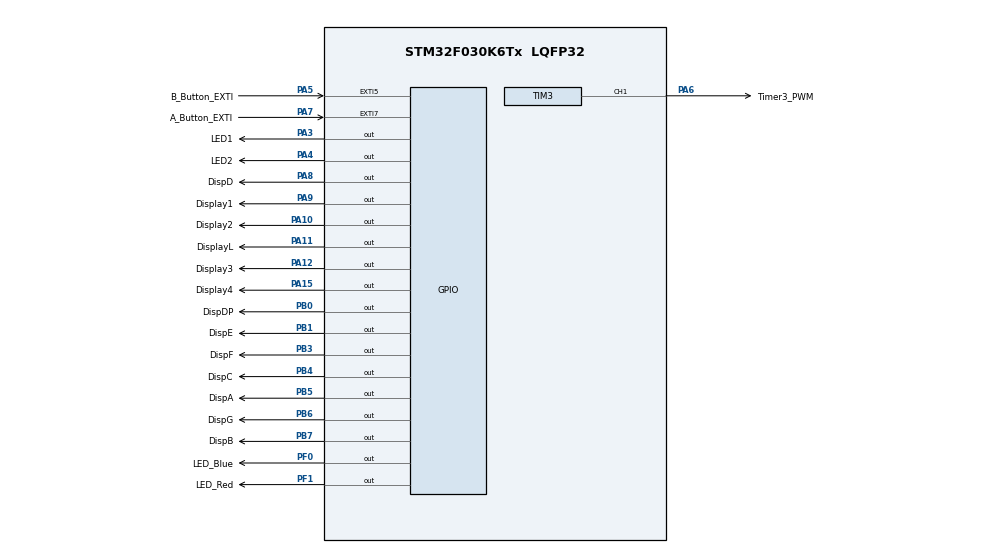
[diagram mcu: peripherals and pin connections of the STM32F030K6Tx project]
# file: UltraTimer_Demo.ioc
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Mcu.Family=STM32F0
Mcu.Name=STM32F030K6Tx
Mcu.Package=LQFP32
NVIC.EXTI4_15_IRQn=true\:0\:0\:false\:false\:true\:true\:true\:true
NVIC.TIM1_BRK_UP_TRG_COM_IRQn=true\:0\:0\:false\:false\:true\:true\:true\:true
NVIC.TIM1_CC_IRQn=true\:0\:0\:false\:false\:true\:true\:true\:true
PA10.GPIO_Label=Display2
PA10.GPIO_PuPd=GPIO_NOPULL
PA10.PinState=GPIO_PIN_RESET
PA10.Signal=GPIO_Output
PA11.GPIO_Label=DisplayL
PA11.GPIO_PuPd=GPIO_NOPULL
PA11.PinState=GPIO_PIN_RESET
PA11.Signal=GPIO_Output
PA12.GPIO_Label=Display3
PA12.GPIO_PuPd=GPIO_NOPULL
PA12.PinState=GPIO_PIN_RESET
PA12.Signal=GPIO_Output
PA13.Mode=Serial_Wire
PA13.Signal=SYS_SWDIO
PA14.Mode=Serial_Wire
PA14.Signal=SYS_SWCLK
PA15.GPIO_Label=Display4
PA15.GPIO_ModeDefaultOutputPP=GPIO_MODE_OUTPUT_PP
PA15.GPIO_PuPd=GPIO_NOPULL
PA15.PinState=GPIO_PIN_RESET
PA15.Signal=GPIO_Output
PA3.GPIO_Label=LED1
PA3.Signal=GPIO_Output
PA4.GPIO_Label=LED2
PA4.Signal=GPIO_Output
PA5.GPIO_Label=B_Button_EXTI
PA5.GPIO_ModeDefaultEXTI=GPIO_MODE_IT_FALLING
PA5.GPIO_PuPd=GPIO_PULLDOWN
PA5.Signal=GPXTI5
PA6.GPIO_Label=Timer3_PWM
PA6.Signal=S_TIM3_CH1
PA7.GPIO_Label=A_Button_EXTI
PA7.GPIO_ModeDefaultEXTI=GPIO_MODE_IT_FALLING
PA7.GPIO_PuPd=GPIO_PULLDOWN
PA7.Signal=GPXTI7
PA8.GPIO_Label=DispD
PA8.GPIO_PuPd=GPIO_NOPULL
PA8.PinState=GPIO_PIN_RESET
PA8.Signal=GPIO_Output
PA9.GPIO_Label=Display1
PA9.GPIO_ModeDefaultOutputPP=GPIO_MODE_OUTPUT_PP
PA9.GPIO_PuPd=GPIO_NOPULL
PA9.PinState=GPIO_PIN_RESET
PA9.Signal=GPIO_Output
PB0.GPIO_Label=DispDP
PB0.Signal=GPIO_Output
PB1.GPIO_Label=DispE
PB1.Signal=GPIO_Output
PB3.GPIO_Label=DispF
PB3.Signal=GPIO_Output
PB4.GPIO_Label=DispC
PB4.Signal=GPIO_Output
PB5.GPIO_Label=DispA
PB5.Signal=GPIO_Output
PB6.GPIO_Label=DispG
PB6.Signal=GPIO_Output
PB7.GPIO_Label=DispB
PB7.Signal=GPIO_Output
PF0-OSC_IN.GPIO_Label=LED_Blue
PF0-OSC_IN.Signal=GPIO_Output
PF1-OSC_OUT.GPIO_Label=LED_Red
PF1-OSC_OUT.Signal=GPIO_Output
ProjectManager.HeapSize=0x200
ProjectManager.StackSize=0x400
ProjectManager.TargetToolchain=STM32CubeIDE
SH.S_TIM3_CH1.0=TIM3_CH1,PWM Generation1 CH1
TIM1.Period=50
TIM1.Prescaler=4000
TIM3.AutoReloadPreload=TIM_AUTORELOAD_PRELOAD_ENABLE
TIM3.Channel-PWM\ Generation1\ CH1=TIM_CHANNEL_1
TIM3.ClockDivision=TIM_CLOCKDIVISION_DIV1
TIM3.CounterMode=TIM_COUNTERMODE_UP
TIM3.Period=100
TIM3.Pulse-PWM\ Generation1\ CH1=50
VP_TIM1_VS_ClockSourceINT.Mode=Internal
VP_TIM3_VS_ClockSourceINT.Mode=Internal
board=custom

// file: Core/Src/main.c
/* USER CODE BEGIN Header */
/**
  ******************************************************************************
  * @file           : main.c
  * @brief          : Main program body
  ******************************************************************************
  * @attention
  *
  * Copyright (c) 2024 STMicroelectronics.
  * All rights reserved.
  *
  * This software is licensed under terms that can be found in the LICENSE file
  * in the root directory of this software component.
  * If no LICENSE file comes with this software, it is provided AS-IS.
  *
  ******************************************************************************
  */
/* USER CODE END Header */
#include "main.h"

/* USER CODE BEGIN Includes */
#include "stdbool.h"
/* USER CODE END Includes */

/* USER CODE BEGIN PD */
#define TIM_FREQ 8000000
/* USER CODE END PD */

TIM_HandleTypeDef htim1;
TIM_HandleTypeDef htim3;

/* USER CODE BEGIN PV */
uint8_t mode=0;
/* USER CODE END PV */

void SystemClock_Config(void);
static void MX_GPIO_Init(void);
static void MX_TIM3_Init(void);
static void MX_TIM1_Init(void);
/* USER CODE BEGIN PFP */
bool state = true;
/* USER CODE END PFP */

int main(void)
{

  /* MCU Configuration--------------------------------------------------------*/

  /* Reset of all peripherals, Initializes the Flash interface and the Systick. */
  HAL_Init();

  /* Configure the system clock */
  SystemClock_Config();

  /* Initialize all configured peripherals */
  MX_GPIO_Init();
  MX_TIM3_Init();
  MX_TIM1_Init();
  /* USER CODE BEGIN 2 */
  int Ref_time=2;

  /* Blue Start */
  HAL_GPIO_TogglePin(LED_Red_GPIO_Port, LED_Red_Pin);
  /* Eyes on*/
  HAL_GPIO_TogglePin(LED1_GPIO_Port, LED1_Pin);
  HAL_GPIO_TogglePin(LED2_GPIO_Port, LED2_Pin);

  /* Display OFF */
  DisplayNumber(0,10);

  /* Start PWM */
  HAL_TIM_PWM_Start(&htim3, TIM_CHANNEL_1);

  /* USER CODE END 2 */

  /* Infinite loop */
  /* USER CODE BEGIN WHILE */
  while (1)
  {
	  switch (mode){
	  case 0:
		  __HAL_TIM_SET_PRESCALER(&htim3, 0);

		  DisplayNumber(1,1);
		  HAL_Delay(Ref_time);
		  DisplayNumber(2,2);
		  HAL_Delay(Ref_time);
		  DisplayNumber(3,3);
		  HAL_Delay(Ref_time);
		  DisplayNumber(4,4);
		  HAL_Delay(Ref_time);
		  DisplayNumber(5,10);
		  HAL_Delay(Ref_time);

		  break;

	  case 1:
		  DisplayNumber(0,10);
		  __HAL_TIM_SET_PRESCALER(&htim3, presForFrequency(900));
		  HAL_Delay(150);
		  __HAL_TIM_SET_PRESCALER(&htim3, presForFrequency(500));
		  HAL_Delay(400);
		  __HAL_TIM_SET_PRESCALER(&htim3, 0);
		  HAL_Delay(1000);
		  break;

	  }

//	  HAL_GPIO_TogglePin(LED_Blue_GPIO_Port, LED_Blue_Pin);
//	  HAL_GPIO_TogglePin(LED_Red_GPIO_Port, LED_Red_Pin);
//	  __HAL_TIM_SET_PRESCALER(&htim3, presForFrequency(900));
//	  HAL_Delay(150);
//	  __HAL_TIM_SET_PRESCALER(&htim3, presForFrequency(500));
//	  HAL_Delay(400);
//	  HAL_Delay(1000);
    /* USER CODE END WHILE */

  }
}

void SystemClock_Config(void)
{
  RCC_OscInitTypeDef RCC_OscInitStruct = {0};
  RCC_ClkInitTypeDef RCC_ClkInitStruct = {0};

  /** Initializes the RCC Oscillators according to the specified parameters
  * in the RCC_OscInitTypeDef structure.
  */
  RCC_OscInitStruct.OscillatorType = RCC_OSCILLATORTYPE_HSI;
  RCC_OscInitStruct.HSIState = RCC_HSI_ON;
  RCC_OscInitStruct.HSICalibrationValue = RCC_HSICALIBRATION_DEFAULT;
  RCC_OscInitStruct.PLL.PLLState = RCC_PLL_NONE;
  if (HAL_RCC_OscConfig(&RCC_OscInitStruct) != HAL_OK)
  {
    Error_Handler();
  }

  /** Initializes the CPU, AHB and APB buses clocks
  */
  RCC_ClkInitStruct.ClockType = RCC_CLOCKTYPE_HCLK|RCC_CLOCKTYPE_SYSCLK
                              |RCC_CLOCKTYPE_PCLK1;
  RCC_ClkInitStruct.SYSCLKSource = RCC_SYSCLKSOURCE_HSI;
  RCC_ClkInitStruct.AHBCLKDivider = RCC_SYSCLK_DIV1;
  RCC_ClkInitStruct.APB1CLKDivider = RCC_HCLK_DIV1;

  if (HAL_RCC_ClockConfig(&RCC_ClkInitStruct, FLASH_LATENCY_0) != HAL_OK)
  {
    Error_Handler();
  }
}

static void MX_TIM1_Init(void)
{

  TIM_ClockConfigTypeDef sClockSourceConfig = {0};
  TIM_MasterConfigTypeDef sMasterConfig = {0};

  htim1.Instance = TIM1;
  htim1.Init.Prescaler = 4000;
  htim1.Init.CounterMode = TIM_COUNTERMODE_UP;
  htim1.Init.Period = 50;
  htim1.Init.ClockDivision = TIM_CLOCKDIVISION_DIV1;
  htim1.Init.RepetitionCounter = 0;
  htim1.Init.AutoReloadPreload = TIM_AUTORELOAD_PRELOAD_DISABLE;
  if (HAL_TIM_Base_Init(&htim1) != HAL_OK)
  {
    Error_Handler();
  }
  sClockSourceConfig.ClockSource = TIM_CLOCKSOURCE_INTERNAL;
  if (HAL_TIM_ConfigClockSource(&htim1, &sClockSourceConfig) != HAL_OK)
  {
    Error_Handler();
  }
  sMasterConfig.MasterOutputTrigger = TIM_TRGO_RESET;
  sMasterConfig.MasterSlaveMode = TIM_MASTERSLAVEMODE_DISABLE;
  if (HAL_TIMEx_MasterConfigSynchronization(&htim1, &sMasterConfig) != HAL_OK)
  {
    Error_Handler();
  }

}

static void MX_TIM3_Init(void)
{

  TIM_ClockConfigTypeDef sClockSourceConfig = {0};
  TIM_MasterConfigTypeDef sMasterConfig = {0};
  TIM_OC_InitTypeDef sConfigOC = {0};

  htim3.Instance = TIM3;
  htim3.Init.Prescaler = 0;
  htim3.Init.CounterMode = TIM_COUNTERMODE_UP;
  htim3.Init.Period = 100;
  htim3.Init.ClockDivision = TIM_CLOCKDIVISION_DIV1;
  htim3.Init.AutoReloadPreload = TIM_AUTORELOAD_PRELOAD_ENABLE;
  if (HAL_TIM_Base_Init(&htim3) != HAL_OK)
  {
    Error_Handler();
  }
  sClockSourceConfig.ClockSource = TIM_CLOCKSOURCE_INTERNAL;
  if (HAL_TIM_ConfigClockSource(&htim3, &sClockSourceConfig) != HAL_OK)
  {
    Error_Handler();
  }
  if (HAL_TIM_PWM_Init(&htim3) != HAL_OK)
  {
    Error_Handler();
  }
  sMasterConfig.MasterOutputTrigger = TIM_TRGO_RESET;
  sMasterConfig.MasterSlaveMode = TIM_MASTERSLAVEMODE_DISABLE;
  if (HAL_TIMEx_MasterConfigSynchronization(&htim3, &sMasterConfig) != HAL_OK)
  {
    Error_Handler();
  }
  sConfigOC.OCMode = TIM_OCMODE_PWM1;
  sConfigOC.Pulse = 50;
  sConfigOC.OCPolarity = TIM_OCPOLARITY_HIGH;
  sConfigOC.OCFastMode = TIM_OCFAST_DISABLE;
  if (HAL_TIM_PWM_ConfigChannel(&htim3, &sConfigOC, TIM_CHANNEL_1) != HAL_OK)
  {
    Error_Handler();
  }
  HAL_TIM_MspPostInit(&htim3);

}

static void MX_GPIO_Init(void)
{
  GPIO_InitTypeDef GPIO_InitStruct = {0};

  /* GPIO Ports Clock Enable */
  __HAL_RCC_GPIOF_CLK_ENABLE();
  __HAL_RCC_GPIOA_CLK_ENABLE();
  __HAL_RCC_GPIOB_CLK_ENABLE();

  /*Configure GPIO pin Output Level */
  HAL_GPIO_WritePin(GPIOF, LED_Blue_Pin|LED_Red_Pin, GPIO_PIN_RESET);

  /*Configure GPIO pin Output Level */
  HAL_GPIO_WritePin(GPIOA, LED1_Pin|LED2_Pin|DispD_Pin|Display1_Pin
                          |Display2_Pin|DisplayL_Pin|Display3_Pin|Display4_Pin, GPIO_PIN_RESET);

  /*Configure GPIO pin Output Level */
  HAL_GPIO_WritePin(GPIOB, DispDP_Pin|DispE_Pin|DispF_Pin|DispC_Pin
                          |DispA_Pin|DispG_Pin|DispB_Pin, GPIO_PIN_RESET);

  /*Configure GPIO pins : LED_Blue_Pin LED_Red_Pin */
  GPIO_InitStruct.Pin = LED_Blue_Pin|LED_Red_Pin;
  GPIO_InitStruct.Mode = GPIO_MODE_OUTPUT_PP;
  GPIO_InitStruct.Pull = GPIO_NOPULL;
  GPIO_InitStruct.Speed = GPIO_SPEED_FREQ_LOW;
  HAL_GPIO_Init(GPIOF, &GPIO_InitStruct);

  /*Configure GPIO pins : LED1_Pin LED2_Pin DispD_Pin Display1_Pin
                           Display2_Pin DisplayL_Pin Display3_Pin Display4_Pin */
  GPIO_InitStruct.Pin = LED1_Pin|LED2_Pin|DispD_Pin|Display1_Pin
                          |Display2_Pin|DisplayL_Pin|Display3_Pin|Display4_Pin;
  GPIO_InitStruct.Mode = GPIO_MODE_OUTPUT_PP;
  GPIO_InitStruct.Pull = GPIO_NOPULL;
  GPIO_InitStruct.Speed = GPIO_SPEED_FREQ_LOW;
  HAL_GPIO_Init(GPIOA, &GPIO_InitStruct);

  /*Configure GPIO pins : B_Button_EXTI_Pin A_Button_EXTI_Pin */
  GPIO_InitStruct.Pin = B_Button_EXTI_Pin|A_Button_EXTI_Pin;
  GPIO_InitStruct.Mode = GPIO_MODE_IT_FALLING;
  GPIO_InitStruct.Pull = GPIO_PULLDOWN;
  HAL_GPIO_Init(GPIOA, &GPIO_InitStruct);

  /*Configure GPIO pins : DispDP_Pin DispE_Pin DispF_Pin DispC_Pin
                           DispA_Pin DispG_Pin DispB_Pin */
  GPIO_InitStruct.Pin = DispDP_Pin|DispE_Pin|DispF_Pin|DispC_Pin
                          |DispA_Pin|DispG_Pin|DispB_Pin;
  GPIO_InitStruct.Mode = GPIO_MODE_OUTPUT_PP;
  GPIO_InitStruct.Pull = GPIO_NOPULL;
  GPIO_InitStruct.Speed = GPIO_SPEED_FREQ_LOW;
  HAL_GPIO_Init(GPIOB, &GPIO_InitStruct);

  /* EXTI interrupt init*/
  HAL_NVIC_SetPriority(EXTI4_15_IRQn, 0, 0);
  HAL_NVIC_EnableIRQ(EXTI4_15_IRQn);

}

/* USER CODE BEGIN 4 */

int presForFrequency (int frequency)
{
	if (frequency == 0) return 0;
	return ((TIM_FREQ/(100*frequency))-1);
}

void HAL_GPIO_EXTI_Callback(uint16_t GPIO_Pin)
{
  /* Prevent unused argument(s) compilation warning */
	if(GPIO_Pin == A_Button_EXTI_Pin && state == true){
		HAL_TIM_Base_Start_IT(&htim1);
		state = false;
	}

	else if(GPIO_Pin == B_Button_EXTI_Pin && state == true){
		HAL_TIM_Base_Start_IT(&htim1);
		state = false;
	}

	else{
		__NOP();
	}

}

void HAL_TIM_PeriodElapsedCallback(TIM_HandleTypeDef *htim)
{

	if(HAL_GPIO_ReadPin(B_Button_EXTI_GPIO_Port, B_Button_EXTI_Pin) == GPIO_PIN_RESET){
		HAL_GPIO_TogglePin(LED_Blue_GPIO_Port, LED_Red_Pin);
		HAL_GPIO_TogglePin(LED_Blue_GPIO_Port, LED_Blue_Pin);
		state = true;
		HAL_TIM_Base_Stop_IT(&htim1);
	}
	else if(HAL_GPIO_ReadPin(A_Button_EXTI_GPIO_Port, A_Button_EXTI_Pin) == GPIO_PIN_RESET){
		mode=mode+1;
		if (mode>=2)
			mode=0;
		state = true;
		HAL_TIM_Base_Stop_IT(&htim1);
	}
}

/* 7seg display related from here */
void DisplayNumber(uint8_t Position, uint8_t Number){
	switch (Position){
		case 1:
			HAL_GPIO_WritePin(Display1_GPIO_Port, Display1_Pin, GPIO_PIN_RESET);
			HAL_GPIO_WritePin(Display2_GPIO_Port, Display2_Pin, GPIO_PIN_SET);
			HAL_GPIO_WritePin(Display3_GPIO_Port, Display3_Pin, GPIO_PIN_SET);
			HAL_GPIO_WritePin(Display4_GPIO_Port, Display4_Pin, GPIO_PIN_SET);
			HAL_GPIO_WritePin(DisplayL_GPIO_Port, DisplayL_Pin, GPIO_PIN_SET);
			break;
		case 2:
			HAL_GPIO_WritePin(Display1_GPIO_Port, Display1_Pin, GPIO_PIN_SET);
			HAL_GPIO_WritePin(Display2_GPIO_Port, Display2_Pin, GPIO_PIN_RESET);
			HAL_GPIO_WritePin(Display3_GPIO_Port, Display3_Pin, GPIO_PIN_SET);
			HAL_GPIO_WritePin(Display4_GPIO_Port, Display4_Pin, GPIO_PIN_SET);
			HAL_GPIO_WritePin(DisplayL_GPIO_Port, DisplayL_Pin, GPIO_PIN_SET);
			break;
		case 3:
			HAL_GPIO_WritePin(Display1_GPIO_Port, Display1_Pin, GPIO_PIN_SET);
			HAL_GPIO_WritePin(Display2_GPIO_Port, Display2_Pin, GPIO_PIN_SET);
			HAL_GPIO_WritePin(Display3_GPIO_Port, Display3_Pin, GPIO_PIN_RESET);
			HAL_GPIO_WritePin(Display4_GPIO_Port, Display4_Pin, GPIO_PIN_SET);
			HAL_GPIO_WritePin(DisplayL_GPIO_Port, DisplayL_Pin, GPIO_PIN_SET);
			break;
		case 4:
			HAL_GPIO_WritePin(Display1_GPIO_Port, Display1_Pin, GPIO_PIN_SET);
			HAL_GPIO_WritePin(Display2_GPIO_Port, Display2_Pin, GPIO_PIN_SET);
			HAL_GPIO_WritePin(Display3_GPIO_Port, Display3_Pin, GPIO_PIN_SET);
			HAL_GPIO_WritePin(Display4_GPIO_Port, Display4_Pin, GPIO_PIN_RESET);
			HAL_GPIO_WritePin(DisplayL_GPIO_Port, DisplayL_Pin, GPIO_PIN_SET);
			break;
		case 5:
			HAL_GPIO_WritePin(Display1_GPIO_Port, Display1_Pin, GPIO_PIN_SET);
			HAL_GPIO_WritePin(Display2_GPIO_Port, Display2_Pin, GPIO_PIN_SET);
			HAL_GPIO_WritePin(Display3_GPIO_Port, Display3_Pin, GPIO_PIN_SET);
			HAL_GPIO_WritePin(Display4_GPIO_Port, Display4_Pin, GPIO_PIN_SET);
			HAL_GPIO_WritePin(DisplayL_GPIO_Port, DisplayL_Pin, GPIO_PIN_RESET);
			break;
		case 0:
			//all off
			HAL_GPIO_WritePin(Display1_GPIO_Port, Display1_Pin, GPIO_PIN_SET);
			HAL_GPIO_WritePin(Display2_GPIO_Port, Display2_Pin, GPIO_PIN_SET);
			HAL_GPIO_WritePin(Display3_GPIO_Port, Display3_Pin, GPIO_PIN_SET);
			HAL_GPIO_WritePin(Display4_GPIO_Port, Display4_Pin, GPIO_PIN_SET);
			HAL_GPIO_WritePin(DisplayL_GPIO_Port, DisplayL_Pin, GPIO_PIN_SET);
			break;

	}

	switch (Number){
		//case 0:

		case 1:
			HAL_GPIO_WritePin(DispA_GPIO_Port, DispA_Pin, GPIO_PIN_SET);
			HAL_GPIO_WritePin(DispB_GPIO_Port, DispB_Pin, GPIO_PIN_RESET);
			HAL_GPIO_WritePin(DispC_GPIO_Port, DispC_Pin, GPIO_PIN_RESET);
			HAL_GPIO_WritePin(DispD_GPIO_Port, DispD_Pin, GPIO_PIN_SET);
			HAL_GPIO_WritePin(DispE_GPIO_Port, DispE_Pin, GPIO_PIN_SET);
			HAL_GPIO_WritePin(DispF_GPIO_Port, DispF_Pin, GPIO_PIN_SET);
			HAL_GPIO_WritePin(DispG_GPIO_Port, DispG_Pin, GPIO_PIN_SET);
			HAL_GPIO_WritePin(DispDP_GPIO_Port, DispDP_Pin, GPIO_PIN_SET);
			break;
		case 2:
			HAL_GPIO_WritePin(DispA_GPIO_Port, DispA_Pin, GPIO_PIN_RESET);
			HAL_GPIO_WritePin(DispB_GPIO_Port, DispB_Pin, GPIO_PIN_RESET);
			HAL_GPIO_WritePin(DispC_GPIO_Port, DispC_Pin, GPIO_PIN_SET);
			HAL_GPIO_WritePin(DispD_GPIO_Port, DispD_Pin, GPIO_PIN_RESET);
			HAL_GPIO_WritePin(DispE_GPIO_Port, DispE_Pin, GPIO_PIN_RESET);
			HAL_GPIO_WritePin(DispF_GPIO_Port, DispF_Pin, GPIO_PIN_SET);
			HAL_GPIO_WritePin(DispG_GPIO_Port, DispG_Pin, GPIO_PIN_RESET);
			HAL_GPIO_WritePin(DispDP_GPIO_Port, DispDP_Pin, GPIO_PIN_SET);
			break;
		case 3:
			HAL_GPIO_WritePin(DispA_GPIO_Port, DispA_Pin, GPIO_PIN_RESET);
			HAL_GPIO_WritePin(DispB_GPIO_Port, DispB_Pin, GPIO_PIN_RESET);
			HAL_GPIO_WritePin(DispC_GPIO_Port, DispC_Pin, GPIO_PIN_RESET);
			HAL_GPIO_WritePin(DispD_GPIO_Port, DispD_Pin, GPIO_PIN_RESET);
			HAL_GPIO_WritePin(DispE_GPIO_Port, DispE_Pin, GPIO_PIN_SET);
			HAL_GPIO_WritePin(DispF_GPIO_Port, DispF_Pin, GPIO_PIN_SET);
			HAL_GPIO_WritePin(DispG_GPIO_Port, DispG_Pin, GPIO_PIN_RESET);
			HAL_GPIO_WritePin(DispDP_GPIO_Port, DispDP_Pin, GPIO_PIN_SET);
			break;
		case 4:
			HAL_GPIO_WritePin(DispA_GPIO_Port, DispA_Pin, GPIO_PIN_SET);
			HAL_GPIO_WritePin(DispB_GPIO_Port, DispB_Pin, GPIO_PIN_RESET);
			HAL_GPIO_WritePin(DispC_GPIO_Port, DispC_Pin, GPIO_PIN_RESET);
			HAL_GPIO_WritePin(DispD_GPIO_Port, DispD_Pin, GPIO_PIN_SET);
			HAL_GPIO_WritePin(DispE_GPIO_Port, DispE_Pin, GPIO_PIN_SET);
			HAL_GPIO_WritePin(DispF_GPIO_Port, DispF_Pin, GPIO_PIN_RESET);
			HAL_GPIO_WritePin(DispG_GPIO_Port, DispG_Pin, GPIO_PIN_RESET);
			HAL_GPIO_WritePin(DispDP_GPIO_Port, DispDP_Pin, GPIO_PIN_SET);
			break;
		case 10:
			//all off
			HAL_GPIO_WritePin(DispA_GPIO_Port, DispA_Pin, GPIO_PIN_SET);
			HAL_GPIO_WritePin(DispB_GPIO_Port, DispB_Pin, GPIO_PIN_SET);
			HAL_GPIO_WritePin(DispC_GPIO_Port, DispC_Pin, GPIO_PIN_SET);
			HAL_GPIO_WritePin(DispD_GPIO_Port, DispD_Pin, GPIO_PIN_SET);
			HAL_GPIO_WritePin(DispE_GPIO_Port, DispE_Pin, GPIO_PIN_SET);
			HAL_GPIO_WritePin(DispF_GPIO_Port, DispF_Pin, GPIO_PIN_SET);
			HAL_GPIO_WritePin(DispG_GPIO_Port, DispG_Pin, GPIO_PIN_SET);
			HAL_GPIO_WritePin(DispDP_GPIO_Port, DispDP_Pin, GPIO_PIN_SET);
			break;
	}

}

/* USER CODE END 4 */

void Error_Handler(void)
{
  __disable_irq();
  while (1)
  {
  }
}
